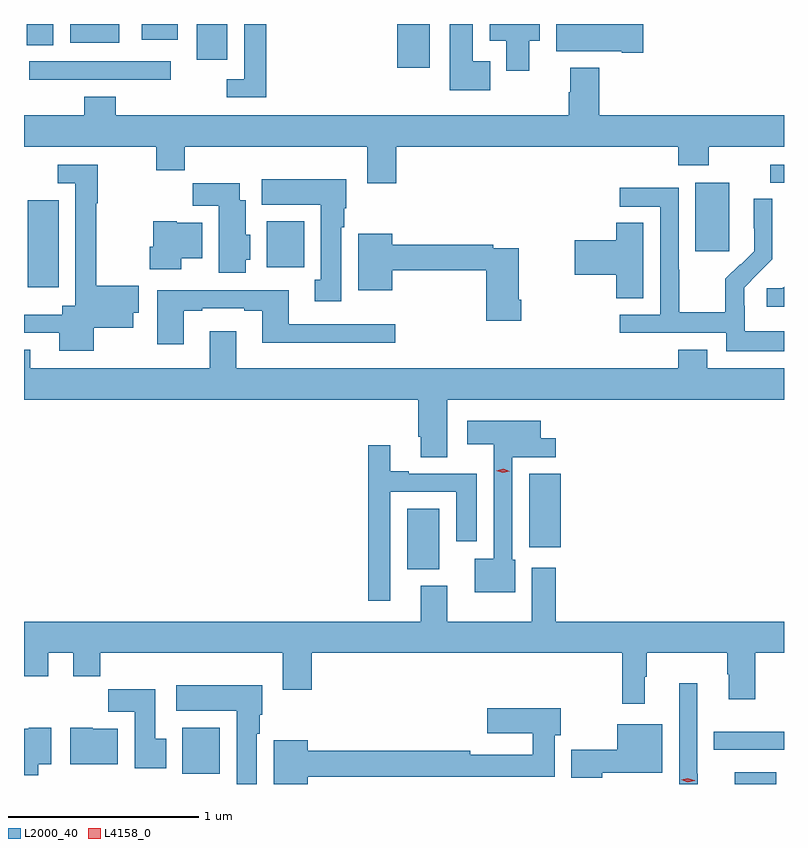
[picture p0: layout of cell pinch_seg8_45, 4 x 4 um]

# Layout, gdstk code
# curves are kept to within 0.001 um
import gdstk
lib = gdstk.Library(unit=1e-6, precision=1e-09)
def R(c, l, rs):  # rectangles x0, y0, x1, y1
    for r in rs: c.add(gdstk.rectangle(r[:2], r[2:], *l))
def P(c, l, *ps):  # polygons
    for p in ps: c.add(gdstk.Polygon(p, *l))
L2000_40 = (2000, 40)
L4158_0 = (4158, 0)

pinch_seg8_45 = lib.new_cell('pinch_seg8_45')
R(pinch_seg8_45, L2000_40, [(902.348,1157.101,902.566,1157.164), (899.441,1157.156,899.638,1157.398), (902.236,1157.28,902.607,1157.377), (900.623,1158.23,900.793,1158.55), (901.265,1158.347,901.432,1158.733), (898.628,1159.716,898.789,1160.173), (899.885,1159.82,900.082,1160.062), (902.141,1159.905,902.32,1160.266), (902.535,1160.265,902.607,1160.361), (898.635,1160.808,899.38,1160.904), (900.572,1160.871,900.742,1161.101), (899.516,1160.913,899.677,1161.101), (898.621,1160.989,898.762,1161.101), (898.85,1161.002,899.107,1161.101), (899.228,1161.017,899.416,1161.101)])
P(pinch_seg8_45, L2000_40, [(901.267,1161.014),(901.321,1161.014),(901.321,1161.101),(901.058,1161.101),(901.058,1161.014),(901.145,1161.014),(901.145,1160.856),(901.267,1160.856)],
  [(901.867,1161.101),(901.409,1161.101),(901.409,1160.957),(901.754,1160.957),(901.754,1160.95),(901.867,1160.95)],
  [(901.06,1160.905),(900.97,1160.905),(900.97,1161.101),(900.848,1161.101),(900.848,1160.753),(901.06,1160.753)],
  [(899.882,1161.101),(899.766,1161.101),(899.766,1160.811),(899.673,1160.811),(899.673,1160.715),(899.882,1160.715)],
  [(900.566,1160.456),(902.051,1160.456),(902.051,1160.357),(902.211,1160.357),(902.211,1160.456),(902.607,1160.456),(902.607,1160.62),(901.634,1160.62),(901.634,1160.872),(901.481,1160.872),(901.481,1160.741),(901.474,1160.741),(901.474,1160.62),(899.09,1160.62),(899.09,1160.719),(898.925,1160.719),(898.925,1160.62),(898.607,1160.62),(898.607,1160.456),(899.302,1160.456),(899.302,1160.332),(899.453,1160.332),(899.453,1160.456),(900.413,1160.456),(900.413,1160.262),(900.566,1160.262)],
  [(898.975,1159.502),(899.182,1159.502),(899.182,1159.582),(899.212,1159.582),(899.212,1159.724),(898.987,1159.724),(898.987,1160.158),(898.994,1160.158),(898.994,1160.361),(898.785,1160.361),(898.785,1160.264),(898.878,1160.264),(898.878,1159.618),(898.808,1159.618),(898.808,1159.572),(898.607,1159.572),(898.607,1159.476),(898.793,1159.476),(898.793,1159.382),(898.975,1159.382)],
  [(900.277,1160.03),(900.292,1160.03),(900.292,1160.13),(900.304,1160.13),(900.304,1160.284),(899.858,1160.284),(899.858,1160.15),(900.17,1160.15),(900.17,1159.754),(900.137,1159.754),(900.137,1159.641),(900.277,1159.641)],
  [(899.773,1159.86),(899.797,1159.86),(899.797,1159.992),(899.773,1159.992),(899.773,1160.173),(899.743,1160.173),(899.743,1160.263),(899.494,1160.263),(899.494,1160.144),(899.633,1160.144),(899.633,1159.793),(899.773,1159.793)],
  [(902.607,1159.483),(902.4,1159.483),(902.4,1159.617),(902.398,1159.617),(902.398,1159.714),(902.544,1159.862),(902.544,1160.18),(902.448,1160.18),(902.448,1160.026),(902.45,1160.026),(902.45,1159.904),(902.379,1159.833),(902.376,1159.836),(902.299,1159.759),(902.299,1159.585),(902.055,1159.585),(902.055,1159.808),(902.052,1159.808),(902.052,1160.238),(901.743,1160.238),(901.743,1160.139),(901.956,1160.139),(901.956,1159.572),(901.743,1159.572),(901.743,1159.476),(902.304,1159.476),(902.304,1159.379),(902.607,1159.379)],
  [(899.434,1159.868),(899.545,1159.868),(899.545,1160.056),(899.412,1160.056),(899.412,1160.062),(899.287,1160.062),(899.287,1159.929),(899.269,1159.929),(899.269,1159.811),(899.434,1159.811)],
  [(901.867,1160.054),(901.724,1160.054),(901.724,1159.964),(901.506,1159.964),(901.506,1159.781),(901.724,1159.781),(901.724,1159.657),(901.867,1159.657)],
  [(901.223,1159.651),(901.21,1159.651),(901.21,1159.92),(901.076,1159.92),(901.076,1159.94),(900.544,1159.94),(900.544,1159.996),(900.365,1159.996),(900.365,1159.7),(900.544,1159.7),(900.544,1159.804),(901.04,1159.804),(901.04,1159.539),(901.223,1159.539)],
  [(902.607,1159.719),(902.598,1159.71),(902.517,1159.71),(902.517,1159.613),(902.607,1159.613)],
  [(899.449,1159.593),(899.545,1159.593),(899.545,1159.605),(899.765,1159.605),(899.765,1159.593),(899.861,1159.593),(899.861,1159.424),(900.562,1159.424),(900.562,1159.521),(900.001,1159.521),(900.001,1159.701),(899.309,1159.701),(899.309,1159.416),(899.449,1159.416)],
  [(900.835,1159.124),(902.607,1159.124),(902.607,1159.288),(902.203,1159.288),(902.203,1159.387),(902.051,1159.387),(902.051,1159.288),(899.725,1159.288),(899.725,1159.483),(899.585,1159.483),(899.585,1159.288),(898.639,1159.288),(898.639,1159.387),(898.607,1159.387),(898.607,1159.124),(900.683,1159.124),(900.683,1158.928),(900.695,1158.928),(900.695,1158.82),(900.835,1158.82)],
  [(901.192,1158.282),(901.176,1158.282),(901.176,1158.822),(901.405,1158.822),(901.405,1158.92),(901.327,1158.92),(901.327,1159.012),(900.939,1159.012),(900.939,1158.89),(901.08,1158.89),(901.08,1158.286),(900.98,1158.286),(900.98,1158.11),(901.192,1158.11)],
  [(900.534,1158.639),(900.881,1158.639),(900.881,1158.378),(900.991,1158.378),(900.991,1158.735),(900.631,1158.735),(900.631,1158.748),(900.535,1158.748),(900.535,1158.883),(900.418,1158.883),(900.418,1158.066),(900.534,1158.066)],
  [(901.874,1157.666),(901.885,1157.666),(901.885,1157.792),(902.308,1157.792),(902.308,1157.678),(902.315,1157.678),(902.315,1157.547),(902.455,1157.547),(902.455,1157.792),(902.607,1157.792),(902.607,1157.956),(901.406,1157.956),(901.406,1158.238),(901.28,1158.238),(901.28,1157.956),(900.835,1157.956),(900.835,1158.145),(900.695,1158.145),(900.695,1157.956),(898.607,1157.956),(898.607,1157.668),(898.735,1157.668),(898.735,1157.792),(898.865,1157.792),(898.865,1157.668),(899.009,1157.668),(899.009,1157.792),(899.969,1157.792),(899.969,1157.598),(900.122,1157.598),(900.122,1157.792),(901.756,1157.792),(901.756,1157.523),(901.874,1157.523)],
  [(902.153,1157.155),(902.151,1157.155),(902.151,1157.632),(902.055,1157.632),(902.055,1157.101),(902.153,1157.101)],
  [(899.833,1157.366),(899.848,1157.366),(899.848,1157.466),(899.86,1157.466),(899.86,1157.62),(899.409,1157.62),(899.409,1157.486),(899.726,1157.486),(899.726,1157.101),(899.833,1157.101)],
  [(899.356,1157.34),(899.299,1157.34),(899.299,1157.599),(899.05,1157.599),(899.05,1157.48),(899.189,1157.48),(899.189,1157.184),(899.356,1157.184)],
  [(900.1,1157.14),(901.401,1157.14),(901.401,1157.357),(901.432,1157.357),(901.432,1157.499),(901.044,1157.499),(901.044,1157.369),(901.285,1157.369),(901.285,1157.256),(900.956,1157.256),(900.956,1157.276),(900.1,1157.276),(900.1,1157.332),(899.921,1157.332),(899.921,1157.101),(900.1,1157.101)],
  [(901.65,1157.159),(901.966,1157.159),(901.966,1157.416),(901.73,1157.416),(901.73,1157.282),(901.488,1157.282),(901.488,1157.135),(901.65,1157.135)],
  [(898.681,1157.204),(898.75,1157.204),(898.75,1157.398),(898.632,1157.398),(898.632,1157.392),(898.607,1157.392),(898.607,1157.147),(898.681,1157.147)],
  [(899.101,1157.392),(898.968,1157.392),(898.968,1157.398),(898.85,1157.398),(898.85,1157.204),(899.101,1157.204)])
P(pinch_seg8_45, L4158_0, [(902.1,1157.111),(902.065,1157.123),(902.065,1157.123),(902.065,1157.123),(902.101,1157.131),(902.136,1157.12),(902.137,1157.12),(902.136,1157.119)],
  [(901.128,1158.739),(901.093,1158.75),(901.093,1158.751),(901.093,1158.751),(901.129,1158.759),(901.164,1158.748),(901.164,1158.748),(901.164,1158.748)])

lib.write_gds('pinch_seg8_45.gds')
